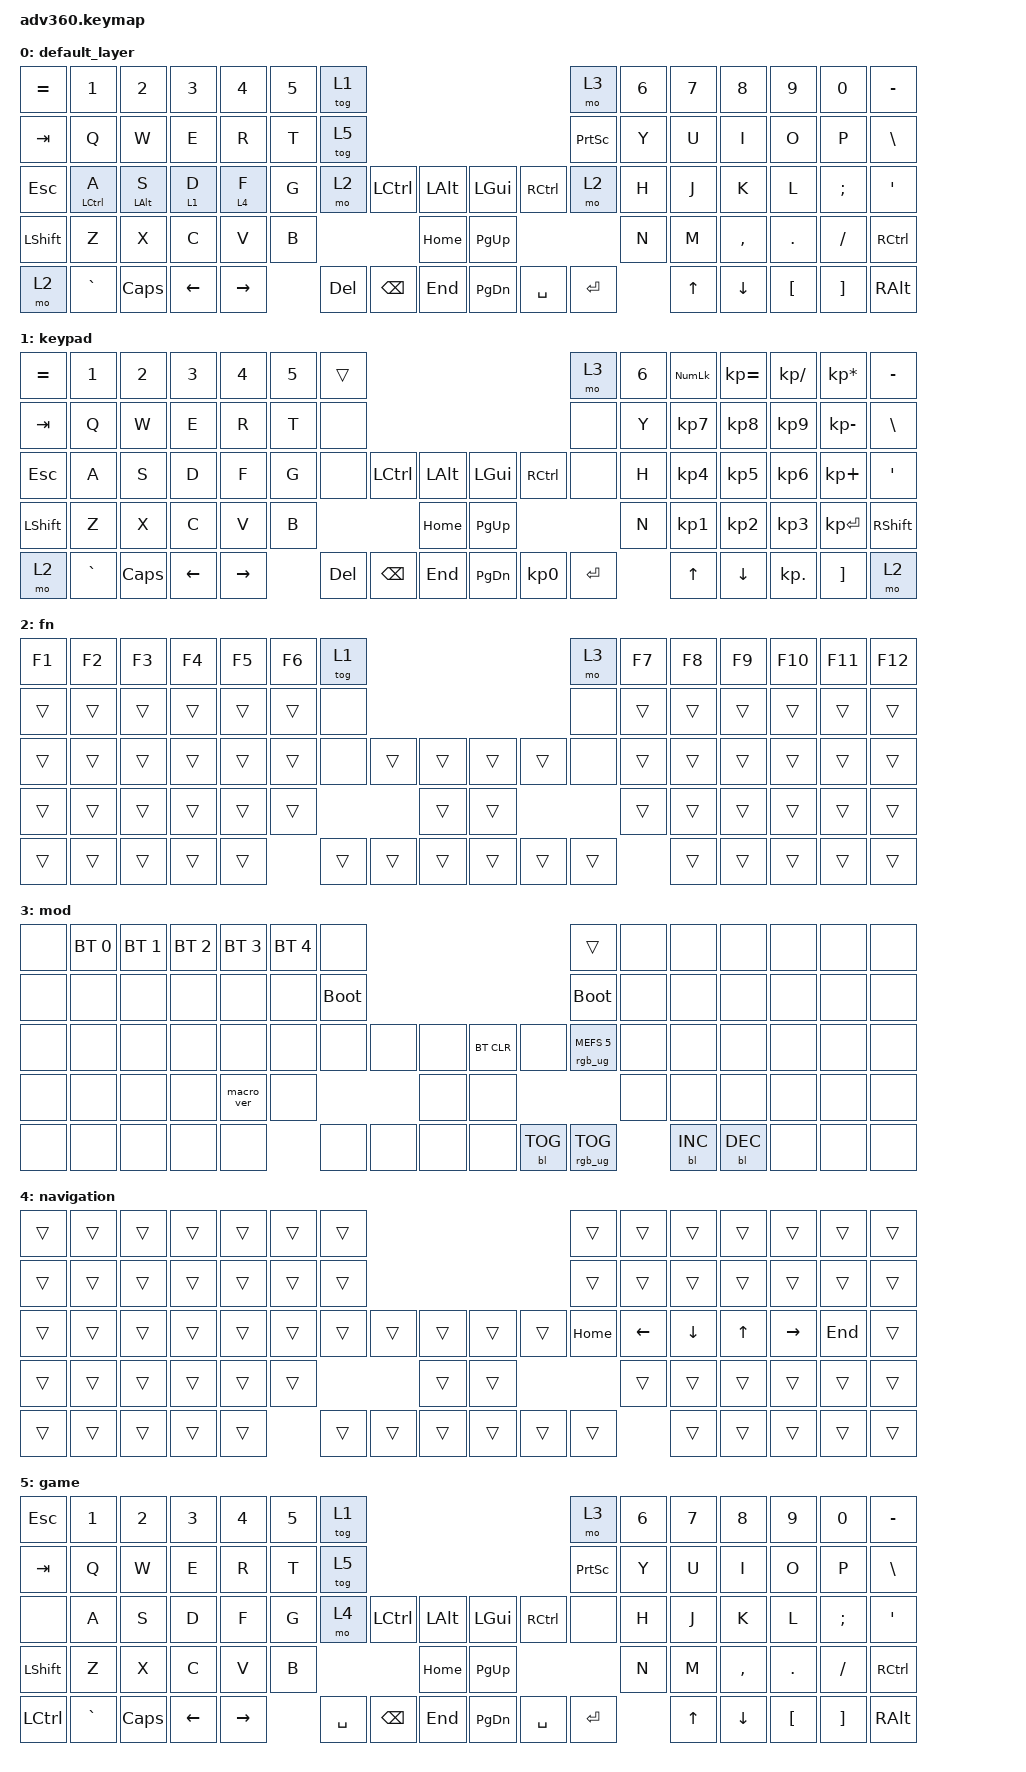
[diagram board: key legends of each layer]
#include <behaviors.dtsi>
#include <dt-bindings/zmk/backlight.h>
#include <dt-bindings/zmk/bt.h>
#include <dt-bindings/zmk/keys.h>
#include <dt-bindings/zmk/rgb.h>

/ {
    behaviors {
        #include "macros.dtsi"
      #include "version.dtsi"
      #ifndef VERSION_MACRO

        macro_ver: macro_ver {
            compatible = "zmk,behavior-macro";
            label = "macro_version";
            #binding-cells = <0>;
            bindings = <&kp RET>;
        };

        #endif

        hm: homerow_mods {
            compatible = "zmk,behavior-hold-tap";
            label = "HOMEROW_MODS";
            #binding-cells = <2>;
            tapping-term-ms = <300>;
            quick_tap_ms = <175>;
            flavor = "tap-preferred";
            bindings = <&kp>, <&kp>;
        };

        hr_lay: hr_lay {
            compatible = "zmk,behavior-hold-tap";
            label = "HR_LAY";
            #binding-cells = <2>;
            tapping-term-ms = <200>;
            quick_tap_ms = <175>;
            flavor = "tap-preferred";
            bindings = <&mo>, <&kp>;
        };
    };

    combos { compatible = "zmk,combos"; };

    macros {
    };

    keymap {
        compatible = "zmk,keymap";

        default_layer {
            bindings = <
&kp EQUAL  &kp N1       &kp N2          &kp N3       &kp N4       &kp N5  &tog 1                                                  &mo 3            &kp N6  &kp N7  &kp N8     &kp N9    &kp N0    &kp MINUS
&kp TAB    &kp Q        &kp W           &kp E        &kp R        &kp T   &tog 5                                                  &kp PRINTSCREEN  &kp Y   &kp U   &kp I      &kp O     &kp P     &kp BSLH
&kp ESC    &hm LCTRL A  &hm LEFT_ALT S  &hr_lay 1 D  &hr_lay 4 F  &kp G   &mo 2    &kp LCTRL  &kp LALT      &kp LGUI   &kp RCTRL  &mo 2            &kp H   &kp J   &kp K      &kp L     &kp SEMI  &kp SQT
&kp LSHFT  &kp Z        &kp X           &kp C        &kp V        &kp B                       &kp HOME      &kp PG_UP                              &kp N   &kp M   &kp COMMA  &kp DOT   &kp FSLH  &kp RCTRL
&mo 2      &kp GRAVE    &kp CAPS        &kp LEFT     &kp RIGHT            &kp DEL  &kp BSPC   &kp END       &kp PG_DN  &kp SPACE  &kp RET                  &kp UP  &kp DOWN   &kp LBKT  &kp RBKT  &kp RIGHT_ALT
            >;
        };

        keypad {
            bindings = <
&kp EQUAL  &kp N1     &kp N2    &kp N3    &kp N4     &kp N5  &trans                                                  &mo 3      &kp N6  &kp KP_NUM  &kp KP_EQUAL  &kp KP_DIVIDE  &kp KP_MULTIPLY  &kp MINUS
&kp TAB    &kp Q      &kp W     &kp E     &kp R      &kp T   &none                                                   &none      &kp Y   &kp KP_N7   &kp KP_N8     &kp KP_N9      &kp KP_MINUS     &kp BSLH
&kp ESC    &kp A      &kp S     &kp D     &kp F      &kp G   &none    &kp LCTRL  &kp LALT      &kp LGUI   &kp RCTRL  &none      &kp H   &kp KP_N4   &kp KP_N5     &kp KP_N6      &kp KP_PLUS      &kp SQT
&kp LSHFT  &kp Z      &kp X     &kp C     &kp V      &kp B                       &kp HOME      &kp PG_UP                        &kp N   &kp KP_N1   &kp KP_N2     &kp KP_N3      &kp KP_ENTER     &kp RSHFT
&mo 2      &kp GRAVE  &kp CAPS  &kp LEFT  &kp RIGHT          &kp DEL  &kp BSPC   &kp END       &kp PG_DN  &kp KP_N0  &kp ENTER          &kp UP      &kp DOWN      &kp KP_DOT     &kp RBKT         &mo 2
            >;
        };

        fn {
            bindings = <
&kp F1  &kp F2  &kp F3  &kp F4  &kp F5  &kp F6  &tog 1                                      &mo 3   &kp F7  &kp F8  &kp F9  &kp F10  &kp F11  &kp F12
&trans  &trans  &trans  &trans  &trans  &trans  &none                                       &none   &trans  &trans  &trans  &trans   &trans   &trans
&trans  &trans  &trans  &trans  &trans  &trans  &none   &trans  &trans      &trans  &trans  &none   &trans  &trans  &trans  &trans   &trans   &trans
&trans  &trans  &trans  &trans  &trans  &trans                  &trans      &trans                  &trans  &trans  &trans  &trans   &trans   &trans
&trans  &trans  &trans  &trans  &trans          &trans  &trans  &trans      &trans  &trans  &trans          &trans  &trans  &trans   &trans   &trans
            >;
        };

        mod {
            bindings = <
&none  &bt BT_SEL 0  &bt BT_SEL 1  &bt BT_SEL 2  &bt BT_SEL 3  &bt BT_SEL 4  &none                                                  &trans                  &none  &none       &none       &none  &none  &none
&none  &none         &none         &none         &none         &none         &bootloader                                            &bootloader             &none  &none       &none       &none  &none  &none
&none  &none         &none         &none         &none         &none         &none        &none  &none      &bt BT_CLR  &none       &rgb_ug RGB_MEFS_CMD 5  &none  &none       &none       &none  &none  &none
&none  &none         &none         &none         &macro_ver    &none                             &none      &none                                           &none  &none       &none       &none  &none  &none
&none  &none         &none         &none         &none                       &none        &none  &none      &none       &bl BL_TOG  &rgb_ug RGB_TOG                &bl BL_INC  &bl BL_DEC  &none  &none  &none
            >;
        };

        navigation {
            bindings = <
&trans  &trans  &trans  &trans  &trans  &trans  &trans                                      &trans    &trans    &trans    &trans  &trans     &trans   &trans
&trans  &trans  &trans  &trans  &trans  &trans  &trans                                      &trans    &trans    &trans    &trans  &trans     &trans   &trans
&trans  &trans  &trans  &trans  &trans  &trans  &trans  &trans  &trans      &trans  &trans  &kp HOME  &kp LEFT  &kp DOWN  &kp UP  &kp RIGHT  &kp END  &trans
&trans  &trans  &trans  &trans  &trans  &trans                  &trans      &trans                    &trans    &trans    &trans  &trans     &trans   &trans
&trans  &trans  &trans  &trans  &trans          &trans  &trans  &trans      &trans  &trans  &trans              &trans    &trans  &trans     &trans   &trans
            >;
        };

        game {
            bindings = <
&kp ESC    &kp N1     &kp N2    &kp N3    &kp N4     &kp N5  &tog 1                                                    &mo 3            &kp N6  &kp N7  &kp N8     &kp N9    &kp N0    &kp MINUS
&kp TAB    &kp Q      &kp W     &kp E     &kp R      &kp T   &tog 5                                                    &kp PRINTSCREEN  &kp Y   &kp U   &kp I      &kp O     &kp P     &kp BSLH
&none      &kp A      &kp S     &kp D     &kp F      &kp G   &mo 4      &kp LCTRL  &kp LALT      &kp LGUI   &kp RCTRL  &none            &kp H   &kp J   &kp K      &kp L     &kp SEMI  &kp SQT
&kp LSHFT  &kp Z      &kp X     &kp C     &kp V      &kp B                         &kp HOME      &kp PG_UP                              &kp N   &kp M   &kp COMMA  &kp DOT   &kp FSLH  &kp RCTRL
&kp LCTRL  &kp GRAVE  &kp CAPS  &kp LEFT  &kp RIGHT          &kp SPACE  &kp BSPC   &kp END       &kp PG_DN  &kp SPACE  &kp RET                  &kp UP  &kp DOWN   &kp LBKT  &kp RBKT  &kp RIGHT_ALT
            >;
        };
    };
};
